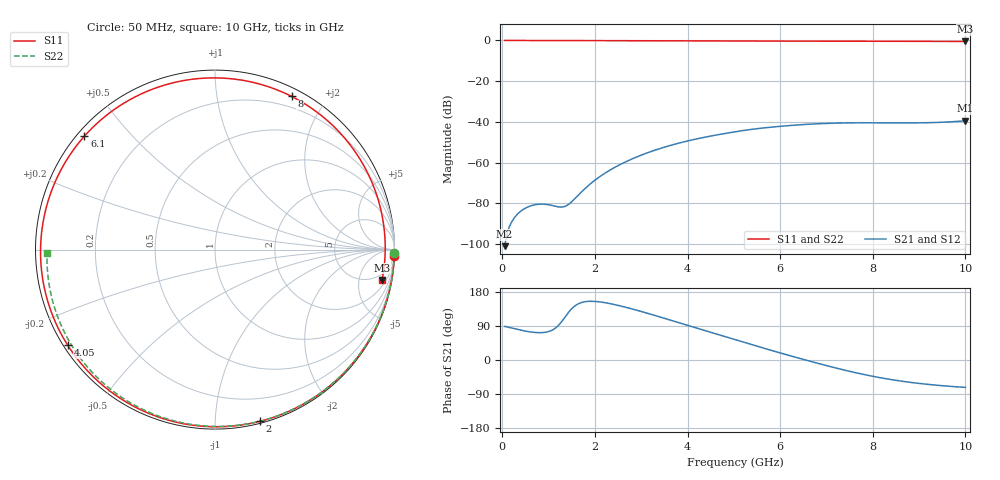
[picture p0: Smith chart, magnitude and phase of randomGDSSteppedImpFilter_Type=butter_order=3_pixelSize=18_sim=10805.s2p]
! freq	dB(S11)	phase(S11)	dB(S12)	phase(S12)
!  dB(S21)	phase(S21)	dB(S22)	phase(S22)
!S-par simulation data
#  GHz  S  DB  R 50
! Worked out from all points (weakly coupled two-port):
!   200 points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, 50 MHz to 10 GHz, reference 50 ohm
!   highest |S21| = -39.44 dB at 10 GHz (marker M1); lowest = -101.1 dB at 50 MHz (marker M2)
!   lowest |S11| = -0.5 dB at 10 GHz (marker M3), VSWR 36.12, Z = 156 - j506 ohm
!   |S11| at or under -10 dB: nowhere
!   |S22| runs from -0.6 to 0.0 dB; largest |S21 - S12| = 0
!   S11 on the Smith chart (normalised r, x): 50 MHz: 1, -59; 2 GHz: 0.01, -1.30; 4.05 GHz: 0.01, -0.30; 6.1 GHz: 0.02, +0.37; 8 GHz: 0.08, +1.61; 10 GHz: 3, -10
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0.05  -0.00 -2.0  -101.06 88.7  -101.06 88.7  -0.00 -1.1
0.7  -0.03 -26.9  -80.73 72.7  -80.73 72.7  -0.02 -14.6
1.45  -0.07 -55.1  -80.22 128.7  -80.22 128.7  -0.04 -30.0
1.75  -0.08 -66.1  -73.53 152.9  -73.53 152.9  -0.05 -36.0
2  -0.09 -75.2  -68.65 154.6  -68.65 154.6  -0.05 -41.0
2.3  -0.11 -86.0  -64.03 149.4  -64.03 149.4  -0.06 -46.9
2.7  -0.12 -100.1  -59.24 138.1  -59.24 138.1  -0.07 -54.7
3.4  -0.16 -124.5  -53.13 113.7  -53.13 113.7  -0.09 -68.0
4.05  -0.19 -147.0  -49.11 89.6  -49.11 89.6  -0.11 -79.9
4.55  -0.22 -164.4  -46.75 71.2  -46.75 71.2  -0.13 -88.8
5.05  -0.25 177.9  -44.79 53.3  -44.79 53.3  -0.15 -97.5
5.55  -0.28 159.7  -43.21 34.7  -43.21 34.7  -0.17 -106.0
6.1  -0.32 139.1  -41.99 15.2  -41.99 15.2  -0.20 -115.1
6.7  -0.36 115.7  -41.05 -5.1  -41.05 -5.1  -0.24 -125.0
7.35  -0.39 89.7  -40.54 -25.6  -40.54 -25.6  -0.29 -135.5
7.65  -0.40 77.5  -40.46 -34.1  -40.46 -34.1  -0.32 -140.3
8  -0.41 63.4  -40.46 -43.0  -40.46 -43.0  -0.35 -145.9
8.35  -0.41 49.5  -40.50 -50.7  -40.50 -50.7  -0.38 -151.6
8.75  -0.42 34.0  -40.51 -58.0  -40.51 -58.0  -0.42 -158.1
9.15  -0.44 19.0  -40.42 -63.8  -40.42 -63.8  -0.47 -164.6
9.55  -0.45 4.8  -40.13 -68.3  -40.13 -68.3  -0.52 -171.3
10  -0.48 -10.3  -39.44 -72.3  -39.44 -72.3  -0.58 -178.9
